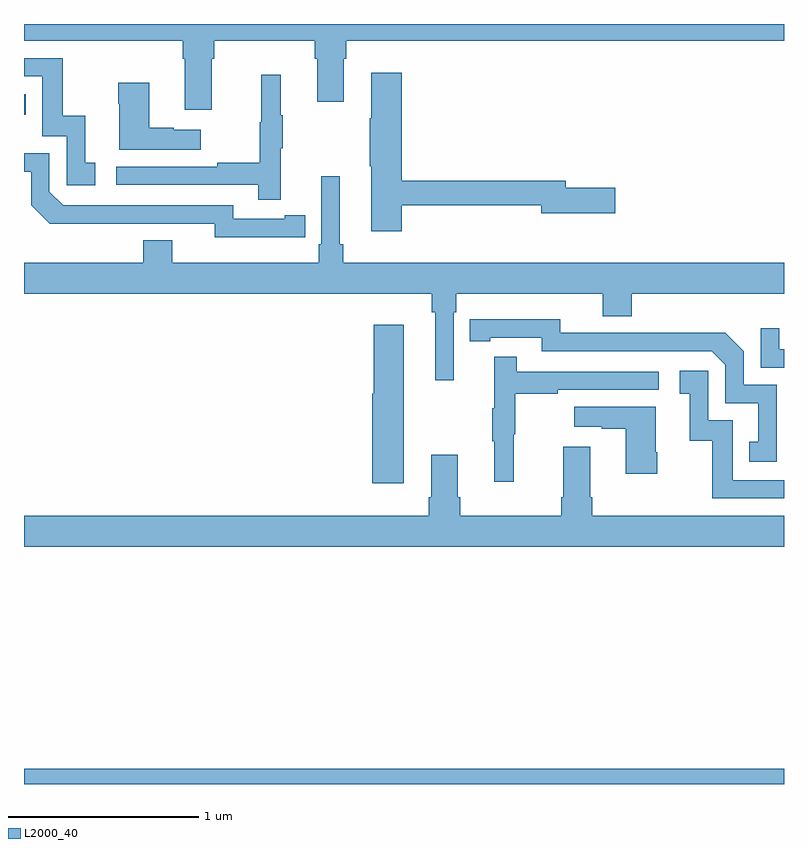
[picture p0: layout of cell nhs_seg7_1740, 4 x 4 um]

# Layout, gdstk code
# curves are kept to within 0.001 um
import gdstk
lib = gdstk.Library(unit=1e-6, precision=1e-09)
def R(c, l, rs):  # rectangles x0, y0, x1, y1
    for r in rs: c.add(gdstk.rectangle(r[:2], r[2:], *l))
def P(c, l, *ps):  # polygons
    for p in ps: c.add(gdstk.Polygon(p, *l))
L2000_40 = (2000, 40)

nhs_seg7_1740 = lib.new_cell('nhs_seg7_1740')
R(nhs_seg7_1740, L2000_40, [(229,1034,233,1034.08), (229,1037.523,229.01,1037.629)])
P(nhs_seg7_1740, L2000_40, [(229.987,1037.816),(230,1037.816),(230,1037.912),(230.531,1037.912),(230.531,1037.816),(230.543,1037.816),(230.543,1037.592),(230.683,1037.592),(230.683,1037.816),(230.696,1037.816),(230.696,1037.912),(233,1037.912),(233,1038),(229,1038),(229,1037.912),(229.835,1037.912),(229.835,1037.816),(229.847,1037.816),(229.847,1037.55),(229.987,1037.55)],
  [(229.375,1037.271),(229.322,1037.271),(229.322,1037.518),(229.204,1037.518),(229.204,1037.82),(229,1037.82),(229,1037.724),(229.095,1037.724),(229.095,1037.409),(229.224,1037.409),(229.224,1037.151),(229.375,1037.151)],
  [(230.987,1037.046),(231.722,1037.046),(231.722,1037.003),(232.111,1037.003),(232.111,1037.138),(231.85,1037.138),(231.85,1037.174),(230.987,1037.174),(230.987,1037.743),(230.828,1037.743),(230.828,1037.504),(230.821,1037.504),(230.821,1037.251),(230.828,1037.251),(230.828,1036.908),(230.987,1036.908)],
  [(230.351,1037.347),(230.362,1037.347),(230.362,1037.521),(230.351,1037.521),(230.351,1037.734),(230.248,1037.734),(230.248,1037.484),(230.241,1037.484),(230.241,1037.27),(230.017,1037.27),(230.017,1037.25),(229.485,1037.25),(229.485,1037.154),(230.233,1037.154),(230.233,1037.076),(230.351,1037.076)],
  [(229.93,1037.443),(229.787,1037.443),(229.787,1037.453),(229.66,1037.453),(229.66,1037.692),(229.495,1037.692),(229.495,1037.579),(229.502,1037.579),(229.502,1037.339),(229.93,1037.339)],
  [(230.372,1036.878),(230.48,1036.878),(230.48,1036.994),(230.372,1036.994),(230.372,1036.974),(230.1,1036.974),(230.1,1037.046),(229.206,1037.046),(229.134,1037.118),(229.134,1037.319),(229,1037.319),(229,1037.223),(229.038,1037.223),(229.038,1037.046),(229.136,1036.949),(230.004,1036.95),(230.004,1036.877)],
  [(231.261,1036.484),(231.275,1036.484),(231.275,1036.58),(232.046,1036.58),(232.046,1036.463),(232.199,1036.463),(232.199,1036.58),(233,1036.58),(233,1036.744),(230.681,1036.744),(230.681,1036.84),(230.662,1036.84),(230.662,1037.2),(230.565,1037.2),(230.565,1036.84),(230.552,1036.84),(230.552,1036.744),(229.78,1036.744),(229.78,1036.861),(229.628,1036.861),(229.628,1036.744),(229,1036.744),(229,1036.58),(231.145,1036.58),(231.145,1036.484),(231.164,1036.484),(231.164,1036.125),(231.261,1036.125)],
  [(232.962,1036.101),(232.788,1036.101),(232.788,1036.278),(232.69,1036.376),(232.282,1036.376),(232.282,1036.374),(231.822,1036.374),(231.822,1036.447),(231.346,1036.446),(231.346,1036.33),(231.454,1036.33),(231.454,1036.35),(231.726,1036.35),(231.726,1036.278),(232.62,1036.278),(232.692,1036.206),(232.692,1036.005),(232.865,1036.005),(232.865,1035.801),(232.816,1035.801),(232.816,1035.696),(232.962,1035.696)],
  [(230.998,1036.417),(230.84,1036.417),(230.84,1036.053),(230.834,1036.053),(230.834,1035.582),(230.998,1035.582)],
  [(233,1036.287),(232.975,1036.287),(232.975,1036.399),(232.878,1036.399),(232.878,1036.191),(233,1036.191)],
  [(231.578,1035.84),(231.586,1035.84),(231.586,1036.054),(231.809,1036.054),(231.809,1036.074),(232.342,1036.074),(232.342,1036.17),(231.593,1036.17),(231.593,1036.249),(231.476,1036.249),(231.476,1035.977),(231.465,1035.977),(231.465,1035.803),(231.476,1035.803),(231.476,1035.591),(231.578,1035.591)],
  [(233,1035.6),(232.731,1035.6),(232.731,1035.915),(232.602,1035.915),(232.602,1036.174),(232.452,1036.174),(232.452,1036.053),(232.505,1036.053),(232.505,1035.807),(232.623,1035.807),(232.623,1035.504),(233,1035.504)],
  [(232.332,1035.745),(232.324,1035.745),(232.324,1035.985),(231.897,1035.985),(231.897,1035.881),(232.04,1035.881),(232.04,1035.871),(232.166,1035.871),(232.166,1035.632),(232.332,1035.632)],
  [(233,1035.412),(231.992,1035.412),(231.992,1035.508),(231.979,1035.508),(231.979,1035.775),(231.839,1035.775),(231.839,1035.508),(231.827,1035.508),(231.827,1035.412),(231.296,1035.412),(231.296,1035.508),(231.283,1035.508),(231.283,1035.733),(231.143,1035.733),(231.143,1035.508),(231.131,1035.508),(231.131,1035.412),(229,1035.412),(229,1035.248),(233,1035.248)])

lib.write_gds('nhs_seg7_1740.gds')
